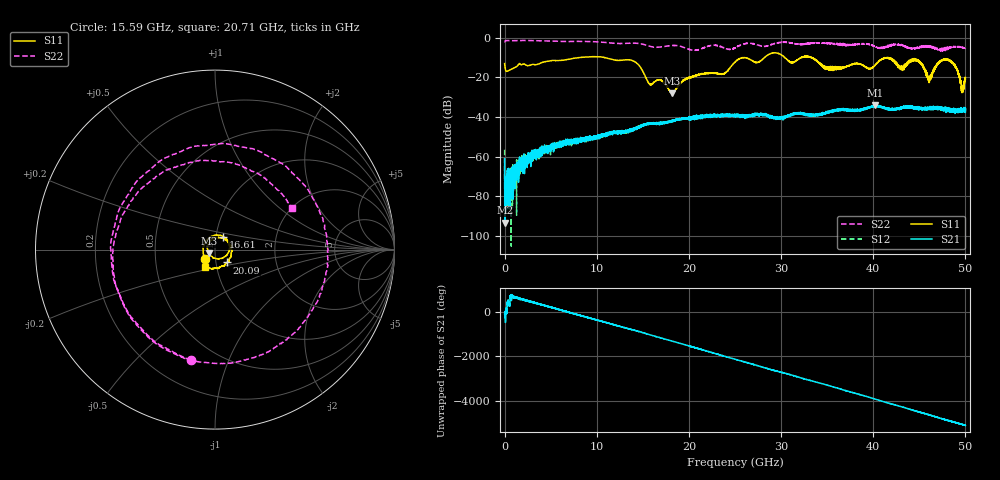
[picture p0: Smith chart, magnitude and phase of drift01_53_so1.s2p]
!Created with skrf (http://scikit-rf.org).
# Hz S RI R 50.0
!freq ReS11 ImS11 ReS21 ImS21 ReS12 ImS12 ReS22 ImS22
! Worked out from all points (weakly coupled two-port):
!   10001 points, 300 kHz to 50 GHz, reference 50 ohm
!   highest |S21| = -34.08 dB at 40.22 GHz (marker M1); lowest = -93.2 dB at 20.3 MHz (marker M2)
!   lowest |S11| = -28.1 dB at 18.15 GHz (marker M3), VSWR 1.08, Z = 46.8 - j2.03 ohm
!   |S11| at or under -10 dB: start of sweep to 8.064 GHz; 10.89 GHz to 25.83 GHz (14.94 GHz wide, 81.3 % of centre); 41.6 GHz to end of sweep (the widest 3 of 17)
!   |S22| runs from -6.7 to -1.4 dB; largest |S21 - S12| = 0.0043
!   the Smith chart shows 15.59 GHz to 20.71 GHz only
!   S11 on the Smith chart (normalised r, x): 15.59 GHz: 0.89, -0.09; 16.61 GHz: 1.08, +0.16; 20.09 GHz: 1.13, -0.16; 20.71 GHz: 0.88, -0.18
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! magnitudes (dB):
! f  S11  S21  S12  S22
! 300 kHz  -13.0  -61.0  -56.4  -2.1
! 20.3 MHz  -13.7  -93.2  -78.3  -1.9
! 280.3 MHz  -16.9  -68.8  -81.6  -1.4
! 2.9 GHz  -13.6  -62.0  -57.5  -1.4
! 8.335 GHz  -9.9  -51.2  -50.9  -1.8
! 13.88 GHz  -11.5  -46.4  -46.7  -2.7
! 15.59 GHz  -22.6  -43.7  -43.6  -4.0
! 16.61 GHz  -21.3  -43.3  -43.4  -4.8
! 16.67 GHz  -21.2  -43.7  -43.2  -4.8
! 18.15 GHz  -28.1  -41.9  -42.1  -3.9
! 20.09 GHz  -20.1  -40.5  -40.2  -6.0
! 20.71 GHz  -18.9  -40.2  -40.3  -6.3
! 25 GHz  -12.2  -39.3  -39.1  -5.1
! 33.34 GHz  -10.1  -39.4  -39.0  -2.6
! 35.1 GHz  -15.2  -37.7  -37.3  -2.8
! 40.22 GHz  -13.8  -34.1  -34.3  -4.4
! 41.67 GHz  -10.4  -35.5  -36.1  -4.4
! 44.8 GHz  -11.2  -35.7  -35.8  -4.8
! 46.1 GHz  -21.1  -35.8  -35.8  -4.3
! 48.04 GHz  -11.3  -35.5  -36.2  -5.2
! 49.63 GHz  -25.6  -36.7  -36.8  -4.8
! 50 GHz  -20.9  -35.7  -35.6  -5.3
